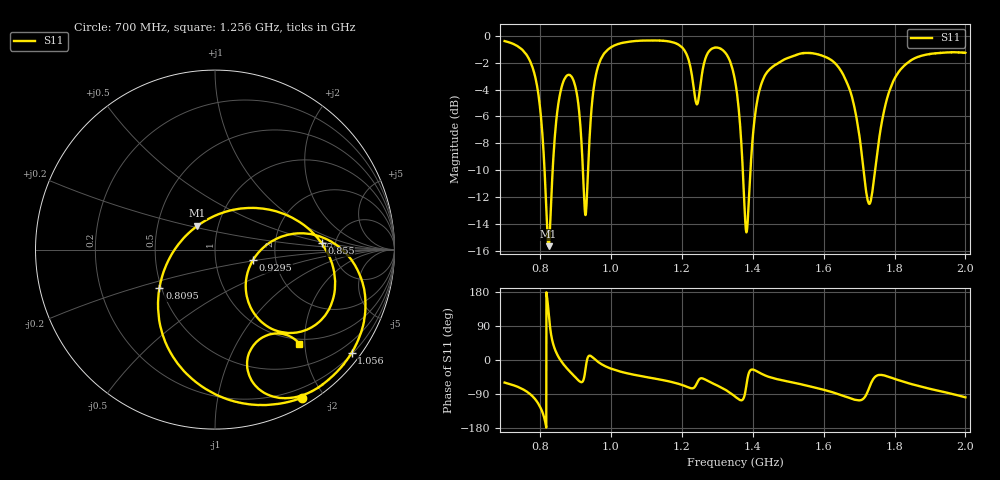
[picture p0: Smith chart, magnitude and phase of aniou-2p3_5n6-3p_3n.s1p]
!Keysight Technologies,P9371A,MY57212015,Z.15.41.75
!Date: Tuesday, May 10, 2022 08:38:52
!Correction: S11(C  1-Port  )
!S1P File: Measurement: S11:
# Hz S  dB  R 50
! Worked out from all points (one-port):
!   2601 points, 700 MHz to 2 GHz, reference 50 ohm
!   lowest |S11| = -15.7 dB at 824 MHz (marker M1), VSWR 1.39, Z = 39.8 + j10.8 ohm
!   |S11| at or under -10 dB: 812.7 MHz to 835.6 MHz (22.84 MHz wide, 2.77 % of centre); 1.372 GHz to 1.394 GHz (21.63 MHz wide, 1.56 % of centre); 1.713 GHz to 1.745 GHz (32.35 MHz wide, 1.87 % of centre)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
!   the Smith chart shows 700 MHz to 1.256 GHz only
!   S11 on the Smith chart (normalised r, x): 700 MHz: 0.09, -1.74; 809.5 MHz: 0.49, -0.24; 855 MHz: 3.88, +0.43; 929.5 MHz: 1.52, -0.19; 1.056 GHz: 0.23, -2.97; 1.256 GHz: 0.91, -1.88
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7e8  -0.38 -59.5
7.725e8  -1.91 -90.4
8.095e8  -8.47 -145.2
8.24e8  -15.67 126.4
8.375e8  -9.10 40.6
8.55e8  -4.51 3.4
8.625e8  -3.65 -6.8
9.02e8  -4.06 -47.8
9.295e8  -13.18 -15.6
9.44e8  -5.81 10.1
9.655e8  -2.12 -6.3
1.025e9  -0.56 -30.2
1.0555e9  -0.41 -37.0
1.1875e9  -0.60 -62.0
1.2315e9  -3.47 -74.5
1.2555e9  -3.06 -48.1
1.3055e9  -0.90 -69.8
1.35e9  -3.31 -96.3
1.38e9  -14.25 -79.5
1.3905e9  -11.51 -31.2
1.4235e9  -3.64 -35.7
1.5125e9  -1.51 -59.2
1.611e9  -1.63 -81.2
1.675e9  -4.10 -100.8
1.7295e9  -12.51 -71.3
1.7775e9  -4.80 -42.4
1.8375e9  -1.99 -60.8
2e9  -1.25 -98.5
